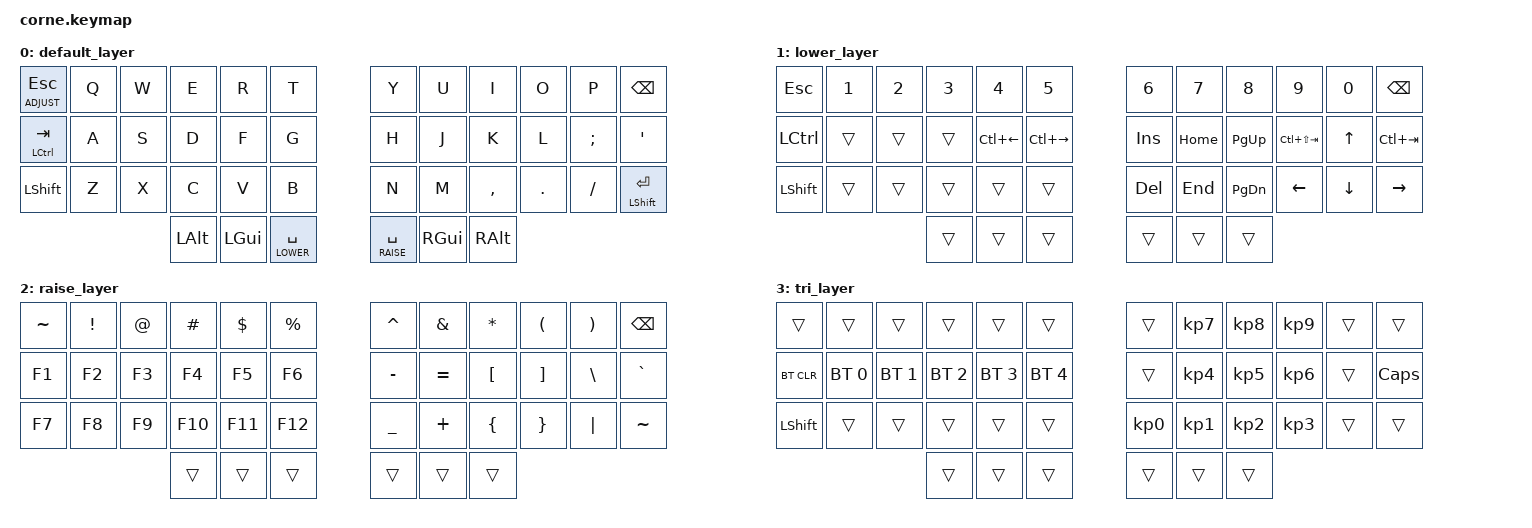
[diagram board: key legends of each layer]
/*
 * Copyright (c) 2020 The ZMK Contributors
 *
 * SPDX-License-Identifier: MIT
 * TEST
 */

#include <behaviors.dtsi>
#include <dt-bindings/zmk/keys.h>
#include <dt-bindings/zmk/bt.h>

#define QWERTY 0
#define LOWER 1
#define RAISE 2
#define ADJUST 3

/ {
        keymap {
                compatible = "zmk,keymap";

                default_layer {
// ---------------------------------------------------------------------------------------------------------------------------------------
// | ADJUST, ESC  |   Q   |   W   |   E    |   R    |   T           |      |   Y           |   U    |   I     |   O    |   P    |  BKSP  |
// | CTRL, TAB    |   A   |   S   |   D    |   F    |   G           |      |   H           |   J    |   K     |   L    | ; SEMI | ' SQT  |
// | SHFT         |   Z   |   X   |   C    |   V    |   B           |      |   N           |   M    | , COMMA | . DOT  | / FLSH | SFT_ENT |
//                                |  LALT  |  LGUI  | LOWER, SPACE  |      | LOWER, RAISE  |  RGUI  |  RALT   |

                        bindings = <
    &lt ADJUST ESC &kp Q   &kp W   &kp E    &kp R    &kp T                  &kp Y           &kp U    &kp I     &kp O    &kp P    &kp BSPC
    &mt LCTRL TAB  &kp A   &kp S   &kp D    &kp F    &kp G                  &kp H           &kp J    &kp K     &kp L    &kp SEMI &kp SQT
    &kp LSHFT      &kp Z   &kp X   &kp C    &kp V    &kp B                  &kp N           &kp M    &kp COMMA &kp DOT  &kp FSLH &mt LSHIFT ENTER
                                   &kp LALT &kp LGUI &lt LOWER SPACE        &lt RAISE SPACE &kp RGUI &kp RALT
                        >;

                };
                lower_layer {
// ---------------------------------------------------------------------------------------------------------------------------------------
// | ESC          |   1   |   2   |   3   |   4   |   5             |      |   6           |   7    |   8     |   9    |   0    |  BKSP  |
// | CTRL         |       |       |       |CTRL+LFT| CTRL+RIGHT     |      |   INS         |  HOME  |  PgUP   |        |  UP    |        |
// | SHFT         |       |       |       |       |                 |      |   DEL         |  END   |  PgDN   |  LEFT  |  DN    |  RGT   |
//                                |       |       |                 |      |               |        |         |


                        bindings = <
    &kp ESC        &kp N1  &kp N2  &kp N3  &kp N4  &kp N5                   &kp N6          &kp N7   &kp N8    &kp N9   &kp N0   &kp BSPC
    &kp LCTRL      &trans  &trans  &trans  &kp LC(LEFT) &kp LC(RIGHT)       &kp INS         &kp HOME &kp PG_UP &kp LC(LS(TAB)) &kp UP &kp LC(TAB)
    &kp LSHFT      &trans  &trans  &trans  &trans  &trans                   &kp DEL         &kp END  &kp PG_DN &kp LEFT &kp DOWN &kp RIGHT
                                   &trans  &trans  &trans                   &trans          &trans   &trans
                        >;
                };

                raise_layer {
// ---------------------------------------------------------------------------------------------------------------------------------------
// | TILDE        |   !   |   @   |   #   |   $   |  %              |      |  ^            |   &    |   *     |   (    |   )    |  BKSP  |
// | F1           |  F2   |  F3   |  F4   |  F5   |  F6             |      |  -            |   =    |   [     |   ]    |   \    |   `    |
// | F7           |  F8   |  F9   |  F10  |  F11  |  F12            |      |  _            |   +    |   {     |   }    |  "|"   |   ~    |
//                                |       |       |                 |      |               |        |         |
                        bindings = <
    &kp TILDE      &kp EXCL &kp AT &kp HASH &kp DLLR &kp PRCNT              &kp CARET       &kp AMPS &kp ASTRK &kp LPAR &kp RPAR &kp BSPC
    &kp F1         &kp F2  &kp F3  &kp F4  &kp F5  &kp F6                   &kp MINUS       &kp EQUAL &kp LBKT &kp RBKT &kp BSLH &kp GRAVE
    &kp F7         &kp F8  &kp F9  &kp F10 &kp F11 &kp F12                  &kp UNDER       &kp PLUS &kp LBRC  &kp RBRC &kp PIPE &kp TILDE
                                   &trans  &trans  &trans                   &trans          &trans   &trans
                        >;
                };

                tri_layer {
// ---------------------------------------------------------------------------------------------------------------------------------------
// |              |       |       |       |       |                 |      |               |   7    |   8     |   9    |        |        |
// | BTCLR        |  BT1  |  BT2  |  BT3  |  BT4  |  BT5            |      |               |   4    |   5     |   6    |        |  CAPS  |
// |              |       |       |       |       |                 |      | 0             |   1    |   2     |   3    |        |        |
//                                |       |       |                 |      |               |        |         |
                        bindings = <
    &trans         &trans  &trans  &trans  &trans  &trans                   &trans          &kp KP_N7 &kp KP_N8 &kp KP_N9 &trans &trans
    &bt BT_CLR &bt BT_SEL 0 &bt BT_SEL 1 &bt BT_SEL 2 &bt BT_SEL 3 &bt BT_SEL 4 &trans      &kp KP_N4 &kp KP_N5 &kp KP_N6 &trans &kp CAPS
    &kp LSHFT &trans   &trans &trans   &trans   &trans                       &kp KP_N0      &kp KP_N1 &kp KP_N2 &kp KP_N3 &trans &trans
                                   &trans  &trans  &trans                   &trans          &trans   &trans
                        >;
                };

        };
};
